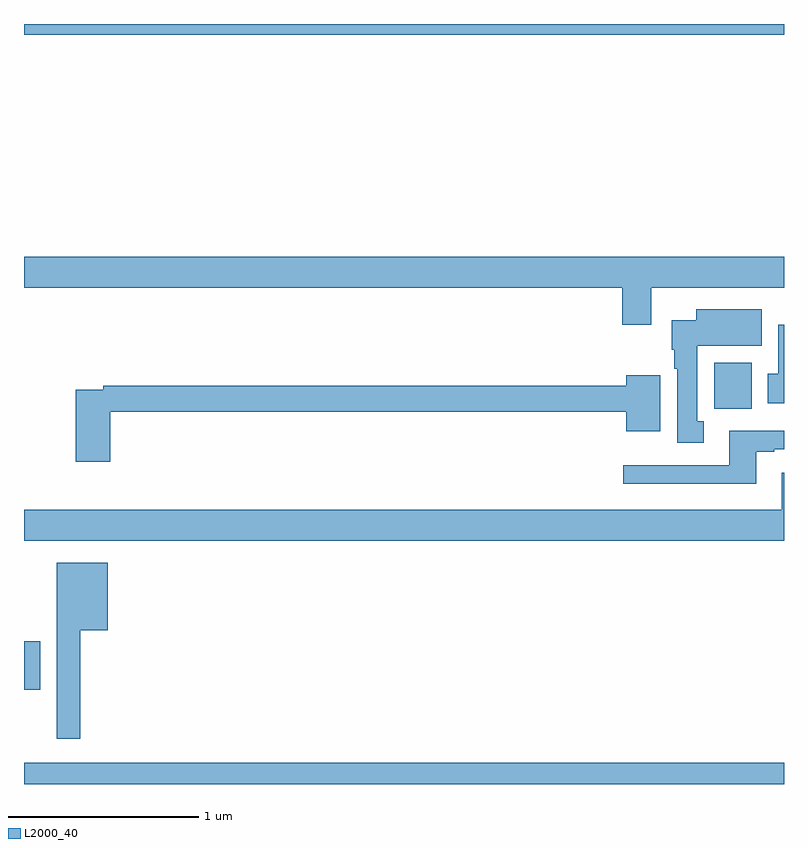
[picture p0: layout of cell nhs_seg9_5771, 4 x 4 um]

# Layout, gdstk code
import gdstk
lib = gdstk.Library(unit=1e-6, precision=1e-09)
def R(c, l, rs):  # rectangles x0, y0, x1, y1
    for r in rs: c.add(gdstk.rectangle(r[:2], r[2:], *l))
def P(c, l, *ps):  # polygons
    for p in ps: c.add(gdstk.Polygon(p, *l))
L2000_40 = (2000, 40)

nhs_seg9_5771 = lib.new_cell('nhs_seg9_5771')
R(nhs_seg9_5771, L2000_40, [(447,1168.5,451,1168.612), (447,1168.997,447.085,1169.251), (450.632,1170.476,450.829,1170.718), (447,1172.444,451,1172.5)])
P(nhs_seg9_5771, L2000_40, [(450.301,1171.112),(451,1171.112),(451,1171.276),(447,1171.276),(447,1171.112),(450.149,1171.112),(450.149,1170.918),(450.301,1170.918)],
  [(450.577,1170.41),(450.544,1170.41),(450.544,1170.806),(450.883,1170.806),(450.883,1171),(450.539,1171),(450.539,1170.94),(450.41,1170.94),(450.41,1170.786),(450.422,1170.786),(450.422,1170.686),(450.437,1170.686),(450.437,1170.297),(450.577,1170.297)],
  [(451,1170.918),(450.971,1170.918),(450.971,1170.66),(450.914,1170.66),(450.914,1170.504),(451,1170.504)],
  [(447.455,1170.46),(450.17,1170.46),(450.17,1170.356),(450.349,1170.356),(450.349,1170.652),(450.17,1170.652),(450.17,1170.596),(447.418,1170.596),(447.418,1170.576),(447.272,1170.576),(447.272,1170.195),(447.455,1170.195)],
  [(450.853,1170.249),(450.949,1170.249),(450.949,1170.261),(451,1170.261),(451,1170.358),(450.713,1170.358),(450.713,1170.177),(450.153,1170.177),(450.153,1170.08),(450.853,1170.08)],
  [(451,1170.139),(450.989,1170.139),(450.989,1169.944),(447,1169.944),(447,1169.78),(451,1169.78)],
  [(447.295,1169.309),(447.442,1169.309),(447.442,1169.665),(447.173,1169.665),(447.173,1168.737),(447.295,1168.737)])

lib.write_gds('nhs_seg9_5771.gds')
